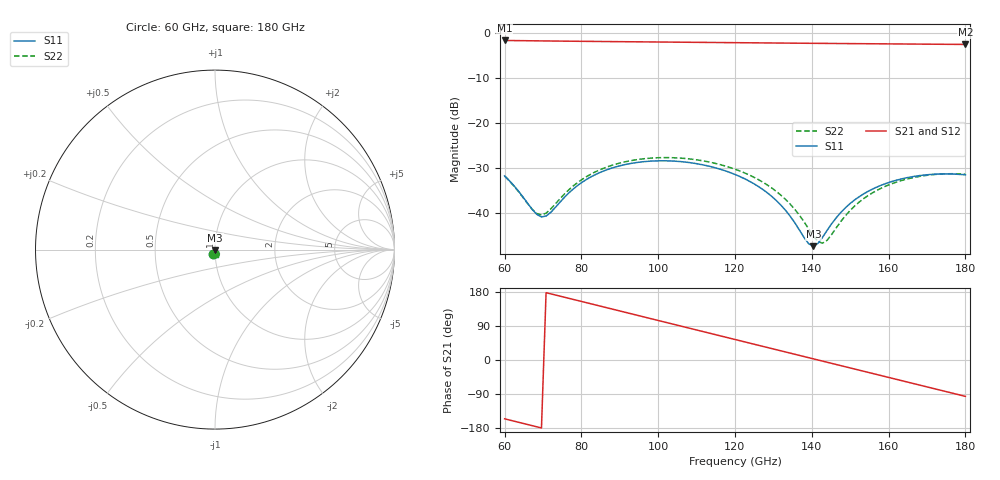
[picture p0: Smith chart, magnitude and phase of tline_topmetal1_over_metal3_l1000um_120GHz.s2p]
#  GHZ S DB R 50
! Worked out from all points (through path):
!   101 points, 60 GHz to 180 GHz, reference 50 ohm
!   highest |S21| = -1.59 dB at 60 GHz (marker M1); lowest = -2.5 dB at 180 GHz (marker M2)
!   group delay of S21, straight-line fit = 6.96 ps
!   lowest |S11| = -47.3 dB at 140.4 GHz (marker M3), VSWR 1.01, Z = 50.1 - j0.427 ohm
!   |S11| at or under -10 dB: start of sweep to end of sweep
!   |S22| runs from -46.6 to -27.6 dB; largest |S21 - S12| = 2.7e-16
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60  -31.68 -118.5  -1.59 -155.2  -1.59 -155.2  -31.73 -117.8
67.2  -39.14 -101.5  -1.66 -173.3  -1.66 -173.3  -39.13 -97.6
69.6  -40.80 -77.1  -1.69 -179.3  -1.69 -179.3  -40.36 -72.2
72  -39.81 -51.8  -1.71 174.6  -1.71 174.6  -39.05 -48.9
80.4  -32.97 -33.6  -1.78 153.5  -1.78 153.5  -32.33 -33.8
90  -29.44 -48.5  -1.86 129.4  -1.86 129.4  -28.83 -49.2
100.8  -28.33 -71.7  -1.94 102.3  -1.94 102.3  -27.63 -72.4
110.4  -29.03 -93.2  -2.01 78.2  -2.01 78.2  -28.17 -94.1
120  -31.37 -113.9  -2.08 54.1  -2.08 54.1  -30.20 -115.3
127.2  -34.68 -127.0  -2.13 36.1  -2.13 36.1  -33.05 -129.3
132  -38.22 -131.6  -2.17 24.1  -2.17 24.1  -36.00 -135.9
135.6  -42.14 -127.4  -2.19 15.1  -2.19 15.1  -39.15 -136.8
139.2  -46.77 -99.5  -2.22 6.1  -2.22 6.1  -43.48 -126.5
140.4  -47.30 -81.6  -2.22 3.1  -2.22 3.1  -45.05 -117.2
142.8  -45.33 -51.2  -2.24 -2.9  -2.24 -2.9  -46.65 -86.0
144  -43.77 -43.1  -2.25 -5.9  -2.25 -5.9  -45.98 -69.6
147.6  -39.77 -34.8  -2.27 -14.9  -2.27 -14.9  -41.77 -45.4
151.2  -37.00 -36.5  -2.29 -24.0  -2.29 -24.0  -38.35 -42.0
156  -34.54 -43.5  -2.32 -36.0  -2.32 -36.0  -35.35 -46.7
160.8  -32.95 -52.6  -2.35 -48.0  -2.35 -48.0  -33.43 -54.8
170.4  -31.41 -73.0  -2.41 -72.0  -2.41 -72.0  -31.51 -74.5
180  -31.45 -94.0  -2.47 -96.0  -2.47 -96.0  -31.30 -95.1
